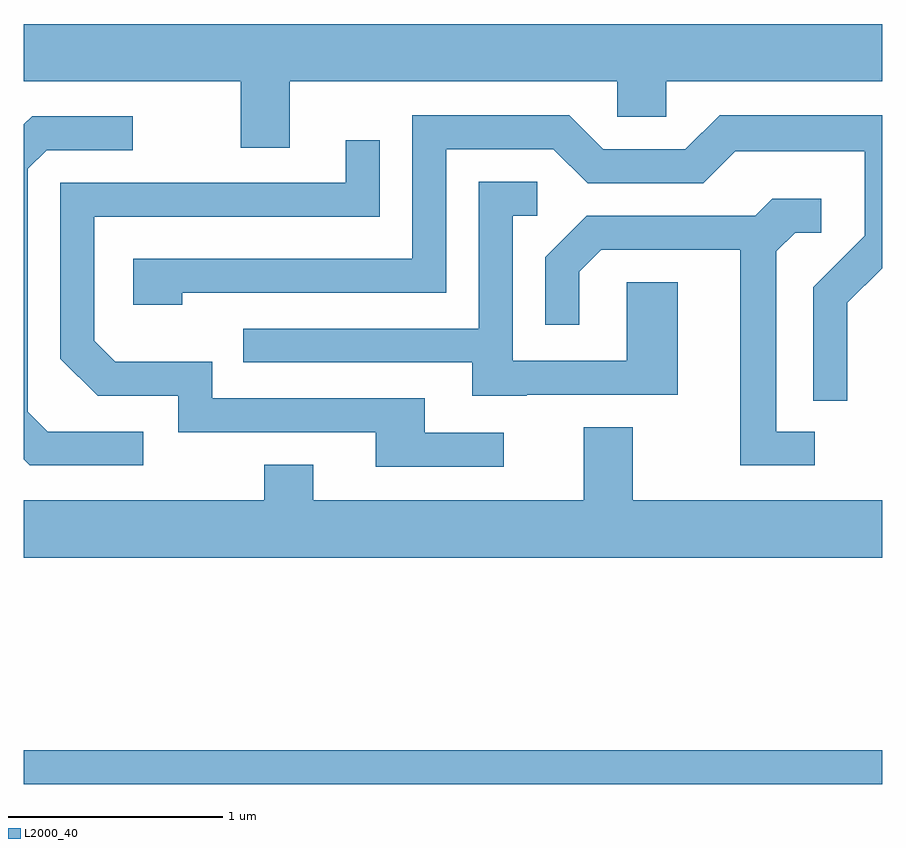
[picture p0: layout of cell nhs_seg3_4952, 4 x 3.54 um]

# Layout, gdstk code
import gdstk
lib = gdstk.Library(unit=1e-6, precision=1e-09)
def R(c, l, rs):  # rectangles x0, y0, x1, y1
    for r in rs: c.add(gdstk.rectangle(r[:2], r[2:], *l))
def P(c, l, *ps):  # polygons
    for p in ps: c.add(gdstk.Polygon(p, *l))
L2000_40 = (2000, 40)

nhs_seg3_4952 = lib.new_cell('nhs_seg3_4952')
R(nhs_seg3_4952, L2000_40, [(329.611,1235.961,333.611,1236.119)])
P(nhs_seg3_4952, L2000_40, [(330.849,1239.236),(332.376,1239.236),(332.376,1239.071),(332.604,1239.071),(332.604,1239.236),(333.611,1239.236),(333.611,1239.504),(329.611,1239.504),(329.611,1239.236),(330.621,1239.236),(330.621,1238.926),(330.849,1238.926)],
  [(333.449,1238.204),(333.611,1238.366),(333.611,1239.079),(332.854,1239.079),(332.694,1238.919),(332.312,1238.919),(332.152,1239.079),(331.421,1239.079),(331.421,1238.409),(330.121,1238.409),(330.121,1238.196),(330.349,1238.196),(330.349,1238.251),(331.579,1238.251),(331.579,1238.921),(332.079,1238.921),(332.239,1238.761),(332.777,1238.761),(332.927,1238.911),(333.531,1238.911),(333.531,1238.517),(333.291,1238.277),(333.291,1237.748),(333.449,1237.748)],
  [(330.168,1237.604),(329.722,1237.604),(329.629,1237.697),(329.629,1238.829),(329.717,1238.916),(330.118,1238.916),(330.118,1239.074),(329.649,1239.074),(329.611,1239.036),(329.611,1237.474),(329.639,1237.446),(330.168,1237.446)],
  [(331.848,1237.599),(331.479,1237.599),(331.479,1237.759),(330.489,1237.759),(330.489,1237.929),(330.037,1237.929),(329.939,1238.027),(329.939,1238.606),(331.269,1238.606),(331.269,1238.963),(331.111,1238.963),(331.111,1238.764),(329.781,1238.764),(329.781,1237.944),(329.954,1237.771),(330.331,1237.771),(330.331,1237.601),(331.251,1237.601),(331.251,1237.441),(331.848,1237.441)],
  [(331.955,1237.776),(332.659,1237.776),(332.659,1238.299),(332.421,1238.299),(332.421,1237.934),(331.889,1237.934),(331.889,1238.611),(332.003,1238.611),(332.003,1238.769),(331.731,1238.769),(331.731,1238.084),(330.633,1238.084),(330.633,1237.926),(331.701,1237.926),(331.701,1237.771),(331.955,1237.771)],
  [(333.298,1237.604),(333.119,1237.604),(333.119,1238.444),(333.207,1238.531),(333.328,1238.531),(333.328,1238.689),(333.099,1238.689),(333.019,1238.609),(332.234,1238.609),(332.041,1238.417),(332.041,1238.103),(332.199,1238.103),(332.199,1238.349),(332.302,1238.451),(332.951,1238.451),(332.951,1237.446),(333.298,1237.446)],
  [(333.611,1237.284),(332.449,1237.284),(332.449,1237.624),(332.221,1237.624),(332.221,1237.284),(330.959,1237.284),(330.959,1237.449),(330.731,1237.449),(330.731,1237.284),(329.611,1237.284),(329.611,1237.016),(333.611,1237.016)])

lib.write_gds('nhs_seg3_4952.gds')
